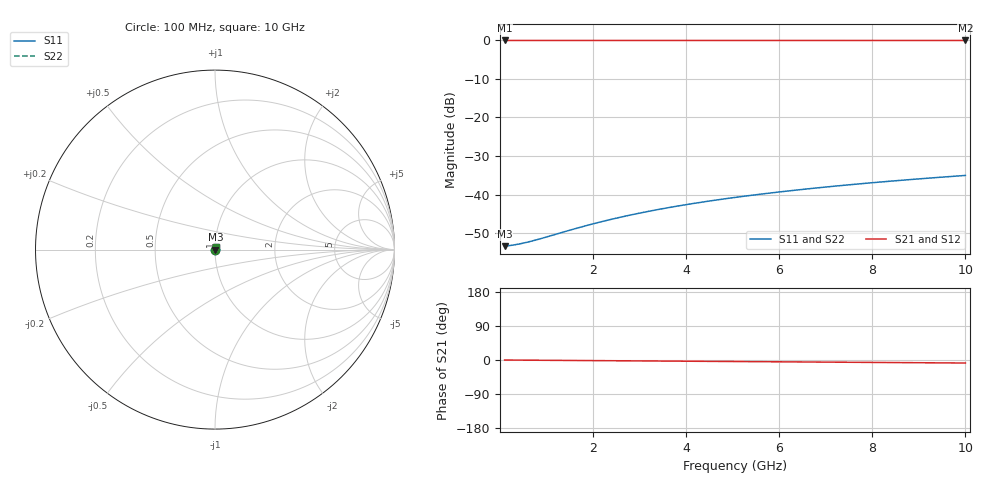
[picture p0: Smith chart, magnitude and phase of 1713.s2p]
# Hz S RI R 50.00
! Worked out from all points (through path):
!   100 points, 100 MHz to 10 GHz, reference 50 ohm
!   highest |S21| = -0.02 dB at 100 MHz (marker M1); lowest = 0.0 dB at 10 GHz (marker M2)
!   group delay of S21, straight-line fit = 2.21 ps
!   lowest |S11| = -53.4 dB at 100 MHz (marker M3), VSWR 1.00, Z = 50.2 + j0.0174 ohm
!   |S11| at or under -10 dB: start of sweep to end of sweep
!   |S22| runs from -53.4 to -35.1 dB; largest |S21 - S12| = 0
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1e8  0.00213 0.000173  0.9979 -0.00139  0.9979 -0.00139  0.00213 0.000173
3e8  0.00215 0.000519  0.9978 -0.00416  0.9978 -0.00416  0.00215 0.000519
4e8  0.00216 0.000692  0.9978 -0.00555  0.9978 -0.00555  0.00216 0.000692
6e8  0.00218 0.00104  0.9978 -0.00832  0.9978 -0.00832  0.00218 0.00104
9e8  0.00221 0.00156  0.9977 -0.0125  0.9977 -0.0125  0.00221 0.00156
1.5e9  0.00226 0.00259  0.9976 -0.0208  0.9976 -0.0208  0.00226 0.00259
1.8e9  0.00229 0.00311  0.9974 -0.025  0.9974 -0.025  0.00229 0.00311
2.2e9  0.00234 0.0038  0.9973 -0.0305  0.9973 -0.0305  0.00234 0.0038
2.6e9  0.0024 0.00449  0.9971 -0.0361  0.9971 -0.0361  0.0024 0.00449
3e9  0.00246 0.00518  0.9968 -0.0416  0.9968 -0.0416  0.00246 0.00518
3.4e9  0.00253 0.00587  0.9966 -0.0472  0.9966 -0.0472  0.00253 0.00587
3.8e9  0.00261 0.00655  0.9963 -0.0527  0.9963 -0.0527  0.00261 0.00655
4.2e9  0.00269 0.00724  0.996 -0.0582  0.996 -0.0582  0.00269 0.00724
4.6e9  0.00278 0.00792  0.9956 -0.0638  0.9956 -0.0638  0.00278 0.00792
5.1e9  0.00291 0.00878  0.9951 -0.0707  0.9951 -0.0707  0.00291 0.00878
5.5e9  0.00301 0.00946  0.9947 -0.0762  0.9947 -0.0762  0.00301 0.00946
5.9e9  0.00313 0.0101  0.9942 -0.0818  0.9942 -0.0818  0.00313 0.0101
6.7e9  0.00339 0.0115  0.9932 -0.0928  0.9932 -0.0928  0.00339 0.0115
7.5e9  0.00367 0.0128  0.9921 -0.1039  0.9921 -0.1039  0.00367 0.0128
8.4e9  0.00403 0.0144  0.9907 -0.1163  0.9907 -0.1163  0.00403 0.0144
9.2e9  0.00437 0.0157  0.9893 -0.1273  0.9893 -0.1273  0.00437 0.0157
1e10  0.00475 0.017  0.9877 -0.1384  0.9877 -0.1384  0.00475 0.017
